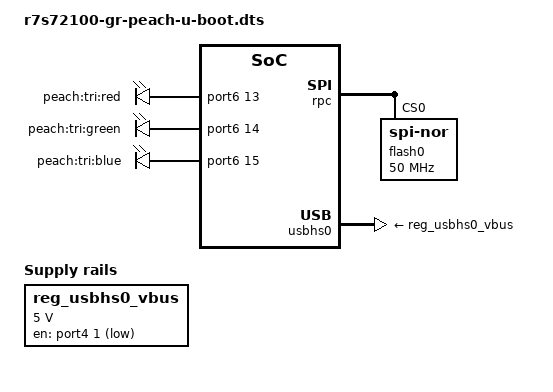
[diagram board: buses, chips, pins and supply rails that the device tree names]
// SPDX-License-Identifier: GPL-2.0
/*
 * Device Tree Source extras for U-Boot for the GR Peach board
 *
 * Copyright (C) 2019 Marek Vasut <marek.vasut@gmail.com>
 */

#include "r7s72100-gr-peach.dts"

/ {
	aliases {
		spi0 = &rpc;
	};

	soc {
		bootph-all;
	};

	leds {
		led1 {
			label = "peach:bottom:red";
		};

		led-red {
			label = "peach:tri:red";
			gpios = <&port6 13 GPIO_ACTIVE_HIGH>;
		};

		led-green {
			label = "peach:tri:green";
			gpios = <&port6 14 GPIO_ACTIVE_HIGH>;
		};

		led-blue {
			label = "peach:tri:blue";
			gpios = <&port6 15 GPIO_ACTIVE_HIGH>;
		};
	};

	reg_usbhs0_vbus: regulator-usbhs0-vbus {
		compatible = "regulator-fixed";
		regulator-name = "usbhs0_vbus";
		regulator-min-microvolt = <5000000>;
		regulator-max-microvolt = <5000000>;
		gpio = <&port4 1 GPIO_ACTIVE_LOW>;
	};


	rpc: spi@ee200000 {
		compatible = "renesas,r7s72100-rpc-if";
		reg = <0x3fefa000 0x100>, <0x18000000 0x08000000>;
		bank-width = <2>;
		num-cs = <1>;
		status = "okay";
		spi-max-frequency = <50000000>;
		#address-cells = <1>;
		#size-cells = <0>;

		flash0: spi-flash@0 {
			#address-cells = <1>;
			#size-cells = <1>;
			compatible = "jedec,spi-nor";
			spi-max-frequency = <50000000>;
			spi-tx-bus-width = <1>;
			spi-rx-bus-width = <1>;
			reg = <0>;
			status = "okay";
		};
	};
};

&ostm0 {
	bootph-all;
};

&pinctrl {
	bootph-all;
};

&scif2 {
	bootph-all;
	clock = <66666666>;	/* ToDo: Replace by DM clock driver */
};

&scif2_pins {
	bootph-all;
};

&usbhs0 {
	vbus-supply = <&reg_usbhs0_vbus>;
	status = "okay";
};
